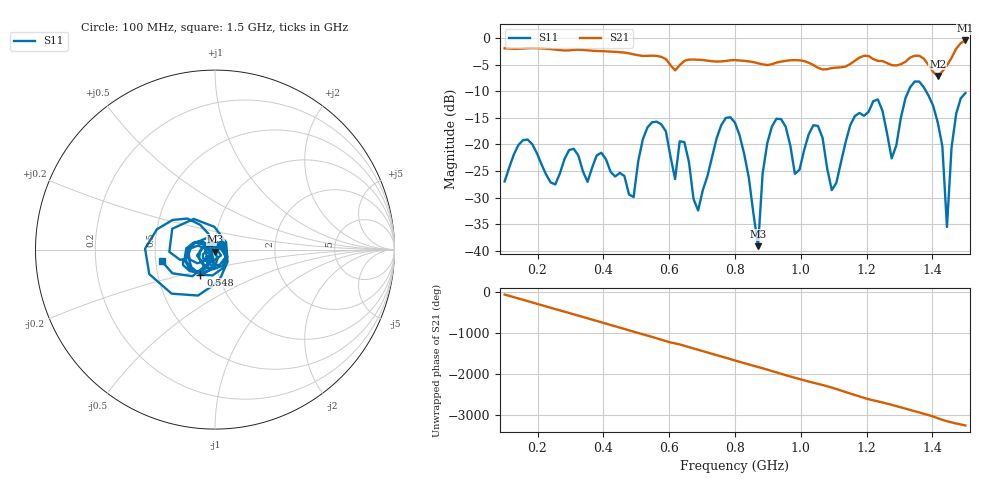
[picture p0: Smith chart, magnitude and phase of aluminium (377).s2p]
! NanoVNA-App
! Date: 2025-09-25 14:58:13
! Start: 100MHz Stop: 1,5GHz Points: 101
! S-Parameter data: F S11 S21 S12 S22
# Hz S RI R 50
!  Frequency  S11_Real  S11_Imag  S21_Real  S21_Imag  S12_Real  S12_Imag  S22_Real  S22_Imag
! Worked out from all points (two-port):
!   101 points, 100 MHz to 1.5 GHz, reference 50 ohm
!   highest |S21| = -0.45 dB at 1.5 GHz (marker M1); lowest = -7.1 dB at 1.416 GHz (marker M2)
!   |S21| within 3 dB of the highest: start of sweep to 569.4 MHz; 1.46 GHz to end of sweep (the widest 2 of 4)
!   lowest |S11| = -39.1 dB at 870 MHz (marker M3), VSWR 1.02, Z = 50.2 - j1.09 ohm
!   |S11| at or under -10 dB: start of sweep to 1.327 GHz; 1.38 GHz to end of sweep
!   S12 and S22 are empty: the file has one direction only
!   S11 on the Smith chart (normalised r, x): 100 MHz: 1.07, +0.06; 548 MHz: 0.82, -0.24; 1.5 GHz: 0.54, -0.08
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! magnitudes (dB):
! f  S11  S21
! 100 MHz  -27.0  -1.9
! 156 MHz  -19.2  -2.0
! 338 MHz  -25.1  -2.2
! 492 MHz  -29.9  -3.1
! 548 MHz  -15.8  -3.3
! 576 MHz  -16.2  -3.5
! 618 MHz  -26.5  -6.1
! 646 MHz  -19.5  -4.3
! 688 MHz  -32.4  -4.1
! 800 MHz  -15.9  -4.1
! 870 MHz  -39.1  -4.7
! 912 MHz  -16.6  -4.9
! 982 MHz  -25.5  -4.1
! 1.038 GHz  -16.4  -5.1
! 1.094 GHz  -28.6  -5.6
! 1.22 GHz  -11.9  -4.0
! 1.276 GHz  -22.6  -5.1
! 1.346 GHz  -8.2  -3.3
! 1.416 GHz  -15.9  -7.1
! 1.444 GHz  -35.5  -5.2
! 1.472 GHz  -14.2  -2.0
! 1.5 GHz  -10.3  -0.5
